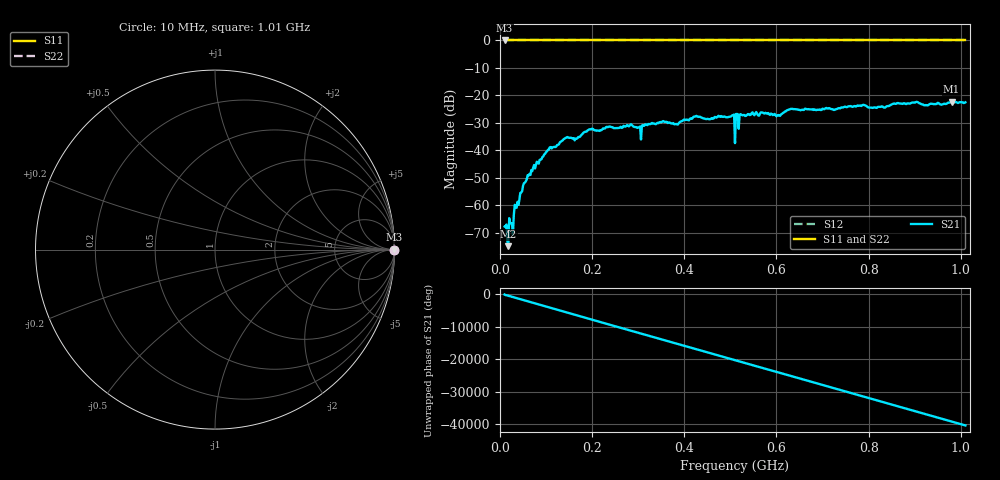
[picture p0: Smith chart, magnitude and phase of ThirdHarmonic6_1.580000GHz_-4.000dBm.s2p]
! 8/16/2025 6:48:01 PM
! C:\ANRITSUVNA\TEMP\TEMP.S2P
! CHANNEL.1
! TR.MEASUREMENT
! RAW.DATA
! RF.CORRECTION.OFF
! AVERAGING.OFF
! IF.BANDWIDTH: 5KHZ
! SWEEPTYPE:  FREQ.SWEEP(Linear)
! Reference Plane Port Info
! PORT:  PORT1  PORT2
! DISTANCE:  0  m  0  m
! TIME:  0  s  0  s
! PHASE.OFFSET:  0  deg.  0  deg.
! LOSS:  0  dB  0  dB
! REF.LOSS:  0  dB  0  dB
! REF.FREQ:  0  Hz  0  Hz
! Power Info
! POWER:  -20  dBm  -20  dBm
! EFF.POWER:  -20  dBm  -20  dBm
! SOURCE.ATTEN:  0  dB  0  dB
! TEST.ATTEN:  0  dB  0  dB
# GHZ S RI R 50.0
! FREQ.GHZ  S11RE  S11IM  S21RE  S21IM  S12RE  S12IM  S22RE  S22IM
!; PortSelection: Port_12
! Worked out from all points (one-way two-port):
!   501 points, 10 MHz to 1.01 GHz, reference 50 ohm
!   highest |S21| = -22.28 dB at 980 MHz (marker M1); lowest = -74.8 dB at 18 MHz (marker M2)
!   lowest |S11| = 0.0 dB at 10 MHz (marker M3)
!   |S11| at or under -10 dB: nowhere
!   |S22| runs from 0.0 to 0.0 dB; largest |S21 - S12| = 1.1
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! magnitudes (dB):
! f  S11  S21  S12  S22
! 10 MHz  0.0  -67.7  0.0  0.0
! 14 MHz  0.0  -67.0  0.0  0.0
! 18 MHz  0.0  -74.8  0.0  0.0
! 26 MHz  0.0  -66.7  0.0  0.0
! 48 MHz  0.0  -54.8  0.0  0.0
! 76 MHz  0.0  -46.6  0.0  0.0
! 106 MHz  0.0  -39.7  0.0  0.0
! 178 MHz  0.0  -34.2  0.0  0.0
! 234 MHz  0.0  -31.5  0.0  0.0
! 302 MHz  0.0  -31.5  0.0  0.0
! 344 MHz  0.0  -30.1  0.0  0.0
! 382 MHz  0.0  -30.4  0.0  0.0
! 424 MHz  0.0  -27.7  0.0  0.0
! 504 MHz  0.0  -27.3  0.0  0.0
! 510 MHz  0.0  -37.3  0.0  0.0
! 514 MHz  0.0  -26.8  0.0  0.0
! 516 MHz  0.0  -26.8  0.0  0.0
! 524 MHz  0.0  -27.0  0.0  0.0
! 678 MHz  0.0  -25.0  0.0  0.0
! 844 MHz  0.0  -23.8  0.0  0.0
! 980 MHz  0.0  -22.3  0.0  0.0
! 1.01 GHz  0.0  -22.5  0.0  0.0
